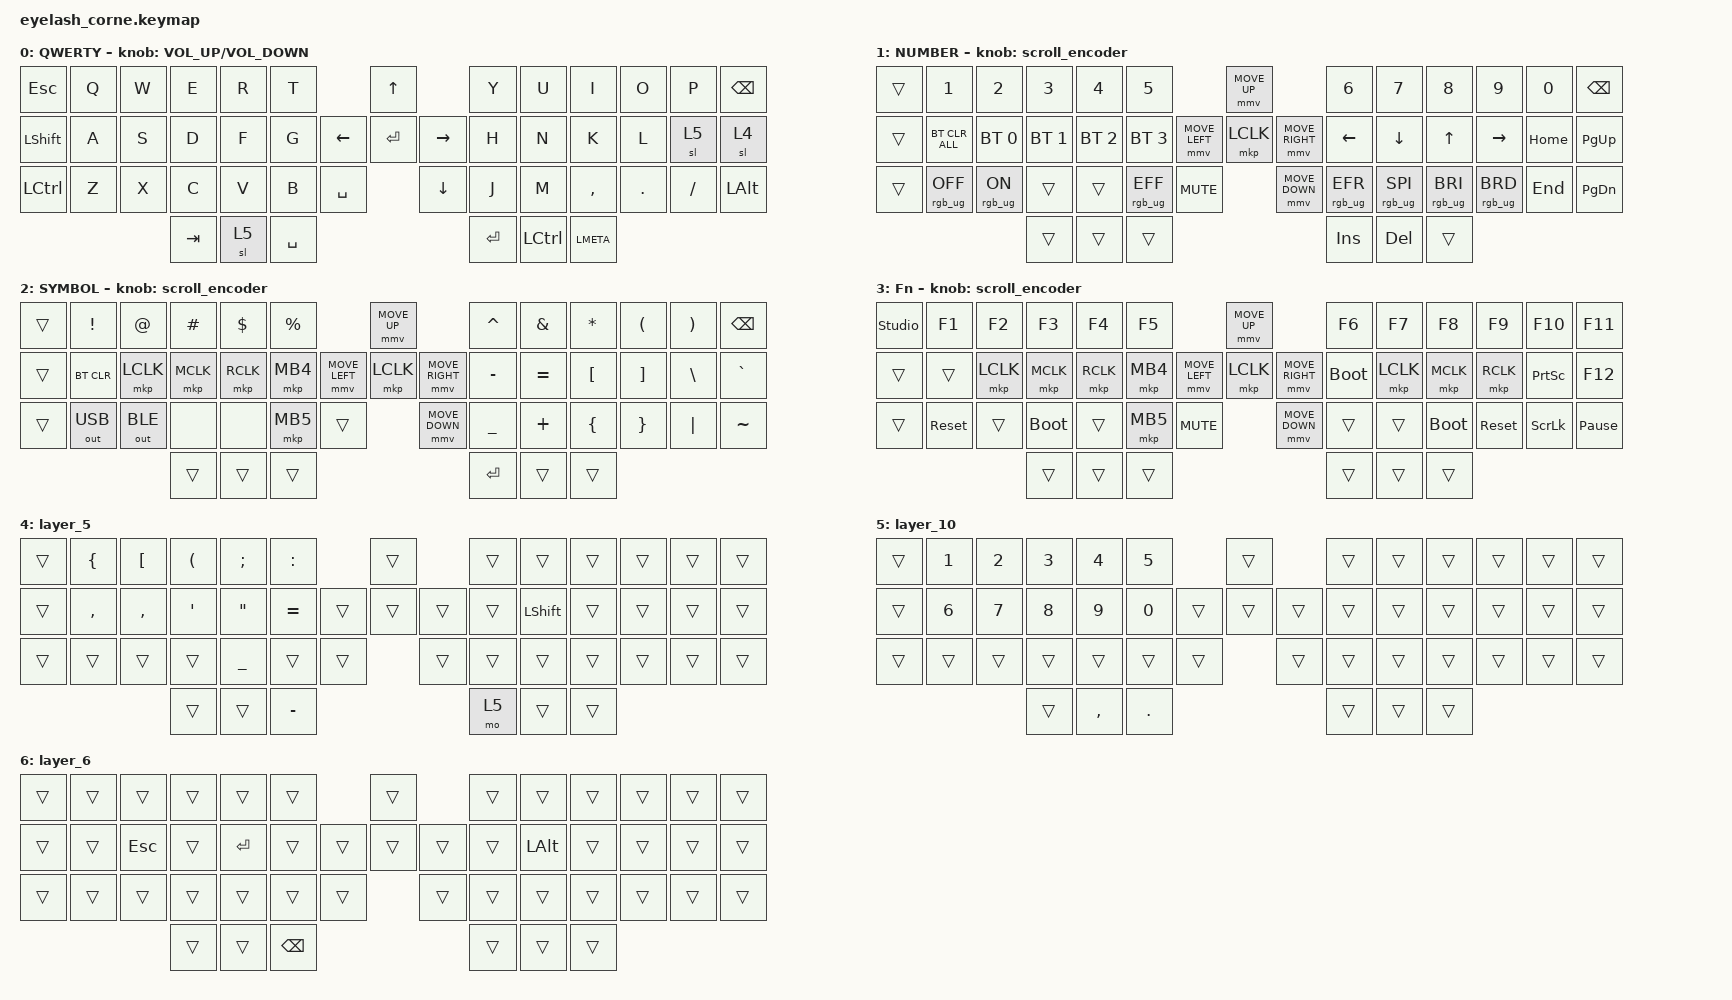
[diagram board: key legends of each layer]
#define ZMK_POINTING_DEFAULT_MOVE_VAL 1200  // 600
#define ZMK_POINTING_DEFAULT_SCRL_VAL 25   // 10

#include <input/processors.dtsi>
#include <zephyr/dt-bindings/input/input-event-codes.h>
#include <behaviors.dtsi>
#include <dt-bindings/zmk/bt.h>
#include <dt-bindings/zmk/keys.h>
#include <dt-bindings/zmk/outputs.h>
#include <dt-bindings/zmk/pointing.h>
#include <dt-bindings/zmk/rgb.h>

&mmv_input_listener { input-processors = <&zip_xy_scaler 2 1>; };

&msc_input_listener { input-processors = <&zip_scroll_scaler 2 1>; };

&msc {
    acceleration-exponent = <1>;      // 0
    time-to-max-speed-ms = <100>;       // 300
    delay-ms = <0>;                   // 0
};

&mmv {
    time-to-max-speed-ms = <500>;
    acceleration-exponent = <1>;
    trigger-period-ms = <16>;
};

/ {
    behaviors {
    };

    rgb_encoder: rgb_encoder {
        compatible = "zmk,behavior-sensor-rotate";
        #sensor-binding-cells = <0>;
        bindings = <&rgb_ug RGB_BRI>, <&rgb_ug RGB_BRD>;
    };

    scroll_encoder: scroll_encoder {
        compatible = "zmk,behavior-sensor-rotate";
        #sensor-binding-cells = <0>;
        bindings = <&msc SCRL_DOWN>, <&msc SCRL_UP>;

        tap-ms = <100>;
    };

    new_behavior: new_behavior {
        compatible = "zmk,behavior-sticky-key";
        label = "NEW_BEHAVIOR";
        bindings = <&kp>;
        #binding-cells = <1>;
        quick-release;
        release-after-ms = <1000>;
    };

    combos { compatible = "zmk,combos"; };

    keymap {
        compatible = "zmk,keymap";

        default_layer {
            display-name = "QWERTY";
            bindings = <
&kp ESCAPE      &kp Q  &kp W  &kp E    &kp R  &kp T                             &kp UP                &kp Y       &kp U      &kp I      &kp O       &kp P      &kp BSPC
&kp LEFT_SHIFT  &kp A  &kp S  &kp D    &kp F  &kp G                   &kp LEFT  &kp ENTER  &kp RIGHT  &kp H       &kp N      &kp K      &kp L       &sl 5      &sl 4
&kp LCTRL       &kp Z  &kp X  &kp C    &kp V  &kp B      &kp SPACE              &kp DOWN              &kp J       &kp M      &kp COMMA  &kp PERIOD  &kp SLASH  &kp LALT
                              &kp TAB  &sl 5  &kp SPACE                                               &kp RETURN  &kp LCTRL  &kp LMETA
            >;

            sensor-bindings = <&inc_dec_kp C_VOLUME_UP C_VOLUME_DOWN>;
        };

        lower_layer {
            display-name = "NUMBER";
            bindings = <
&trans  &kp N1           &kp N2          &kp N3        &kp N4        &kp N5                                         &mmv MOVE_UP                     &kp N6           &kp N7           &kp N8           &kp N9           &kp N0    &kp BSPC
&trans  &bt BT_CLR_ALL   &bt BT_SEL 0    &bt BT_SEL 1  &bt BT_SEL 2  &bt BT_SEL 3                   &mmv MOVE_LEFT  &mkp LCLK       &mmv MOVE_RIGHT  &kp LEFT         &kp DOWN         &kp UP           &kp RIGHT        &kp HOME  &kp PG_UP
&trans  &rgb_ug RGB_OFF  &rgb_ug RGB_ON  &trans        &trans        &rgb_ug RGB_EFF  &kp C_MUTE                    &mmv MOVE_DOWN                   &rgb_ug RGB_EFR  &rgb_ug RGB_SPI  &rgb_ug RGB_BRI  &rgb_ug RGB_BRD  &kp END   &kp PG_DN
                                         &trans        &trans        &trans                                                                          &kp INS          &kp DEL          &trans
            >;

            sensor-bindings = <&scroll_encoder>;
        };

        raise_layer {
            display-name = "SYMBOL";
            bindings = <
&trans  &kp EXCL      &kp AT        &kp HASH   &kp DLLR   &kp PRCNT                            &mmv MOVE_UP                     &kp CARET  &kp AMPS   &kp ASTRK  &kp LPAR  &kp RPAR  &kp BSPC
&trans  &bt BT_CLR    &mkp LCLK     &mkp MCLK  &mkp RCLK  &mkp MB4             &mmv MOVE_LEFT  &mkp LCLK       &mmv MOVE_RIGHT  &kp MINUS  &kp EQUAL  &kp LBKT   &kp RBKT  &kp BSLH  &kp GRAVE
&trans  &out OUT_USB  &out OUT_BLE  &none      &none      &mkp MB5   &trans                    &mmv MOVE_DOWN                   &kp UNDER  &kp PLUS   &kp LBRC   &kp RBRC  &kp PIPE  &kp TILDE
                                    &trans     &trans     &trans                                                                &kp RET    &trans     &trans
            >;

            sensor-bindings = <&scroll_encoder>;
        };

        layer_3 {
            display-name = "Fn";
            bindings = <
&studio_unlock  &kp F1      &kp F2     &kp F3       &kp F4     &kp F5                                  &mmv MOVE_UP                     &kp F6       &kp F7     &kp F8       &kp F9      &kp F10          &kp F11
&trans          &trans      &mkp LCLK  &mkp MCLK    &mkp RCLK  &mkp MB4                &mmv MOVE_LEFT  &mkp LCLK       &mmv MOVE_RIGHT  &bootloader  &mkp LCLK  &mkp MCLK    &mkp RCLK   &kp PRINTSCREEN  &kp F12
&trans          &sys_reset  &trans     &bootloader  &trans     &mkp MB5  &kp C_MUTE                    &mmv MOVE_DOWN                   &trans       &trans     &bootloader  &sys_reset  &kp SCROLLLOCK   &kp PAUSE_BREAK
                                       &trans       &trans     &trans                                                                   &trans       &trans     &trans
            >;

            sensor-bindings = <&scroll_encoder>;
        };

        layer_5 {
            bindings = <
&trans  &kp LEFT_BRACE  &kp LEFT_BRACKET  &kp LEFT_PARENTHESIS  &kp SEMI           &kp COLON                    &trans          &trans  &trans          &trans  &trans  &trans  &trans
&trans  &kp COMMA       &kp COMMA         &kp SINGLE_QUOTE      &kp DOUBLE_QUOTES  &kp EQUAL            &trans  &trans  &trans  &trans  &kp LEFT_SHIFT  &trans  &trans  &trans  &trans
&trans  &trans          &trans            &trans                &kp UNDER          &trans     &trans            &trans          &trans  &trans          &trans  &trans  &trans  &trans
                                          &trans                &trans             &kp MINUS                                    &mo 5   &trans          &trans
            >;
        };

        layer_10 {
            bindings = <
&trans  &kp N1  &kp N2  &kp N3  &kp N4     &kp N5                     &trans          &trans  &trans  &trans  &trans  &trans  &trans
&trans  &kp N6  &kp N7  &kp N8  &kp N9     &kp N0             &trans  &trans  &trans  &trans  &trans  &trans  &trans  &trans  &trans
&trans  &trans  &trans  &trans  &trans     &trans   &trans            &trans          &trans  &trans  &trans  &trans  &trans  &trans
                        &trans  &kp COMMA  &kp DOT                                    &trans  &trans  &trans
            >;
        };

        layer_6 {
            bindings = <
&trans  &trans  &trans      &trans  &trans   &trans                           &trans          &trans  &trans    &trans  &trans  &trans  &trans
&trans  &trans  &kp ESCAPE  &trans  &kp RET  &trans                   &trans  &trans  &trans  &trans  &kp LALT  &trans  &trans  &trans  &trans
&trans  &trans  &trans      &trans  &trans   &trans         &trans            &trans          &trans  &trans    &trans  &trans  &trans  &trans
                            &trans  &trans   &kp BACKSPACE                                    &trans  &trans    &trans
            >;
        };
    };
};
